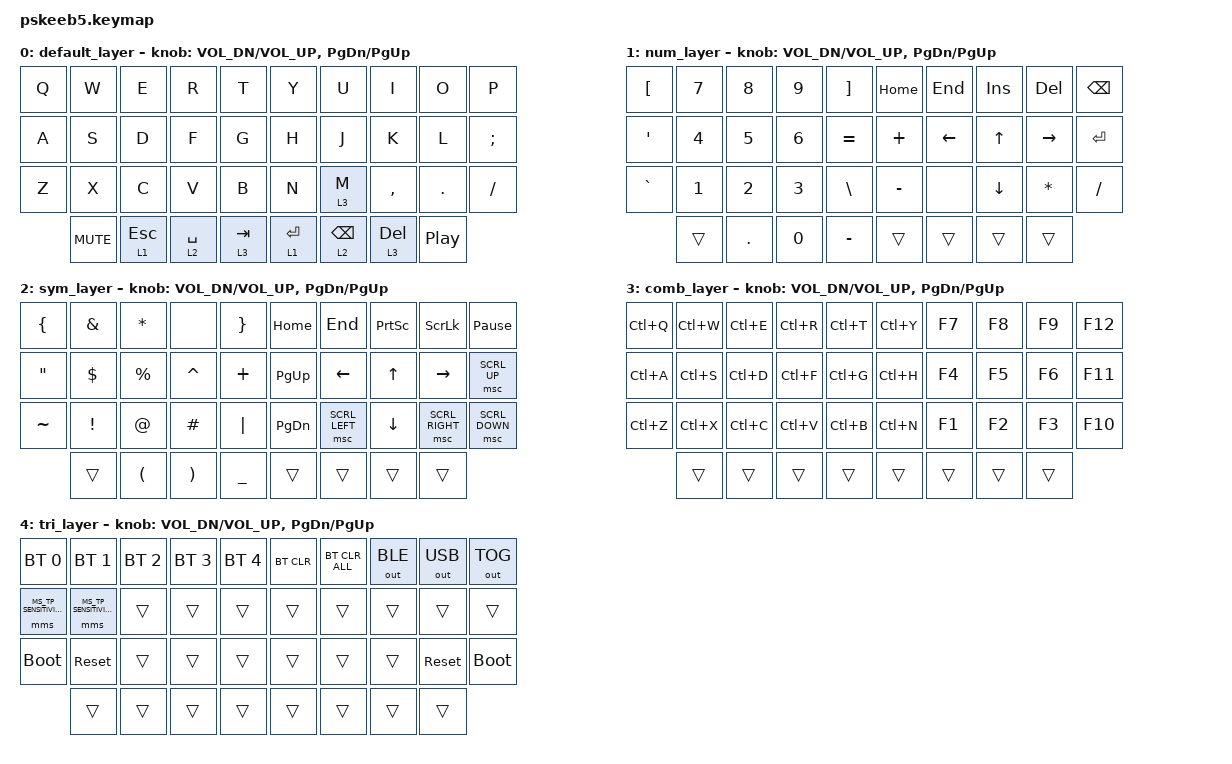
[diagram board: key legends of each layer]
// Copyright (c) 2022 The ZMK Contributors
// SPDX-License-Identifier: MIT

#include <behaviors.dtsi>
#include <dt-bindings/zmk/keys.h>
#include <dt-bindings/zmk/mouse.h>
#include <dt-bindings/zmk/bt.h>
#include <dt-bindings/zmk/outputs.h>

// Home row mods macro
#define HRML(k1,k2,k3,k4) &ht LALT k1  &ht LSHFT k2  &ht LGUI k3  &ht LCTRL k4
#define HRMR(k1,k2,k3,k4) &ht RCTRL k1  &ht RGUI k2  &ht RSHFT k3  &ht RALT k4
#define LCS(keycode) APPLY_MODS(MOD_LCTL | MOD_LSFT, keycode)
#define LCG(keycode) APPLY_MODS(MOD_LCTL | MOD_LGUI, keycode)


#include <behaviors/mouse_setting.dtsi>
#include <dt-bindings/zmk/mouse_settings.h>
#define U_MSS_TP_S_I &mms MS_TP_SENSITIVITY_INCR
#define U_MSS_TP_S_D &mms MS_TP_SENSITIVITY_DECR

&lt {
    flavor = "tap-preferred";
    quick-tap-ms = <180>;
};

&mt {
    quick-tap-ms = <150>;
    flavor = "tap-preferred";
};

/ {
    combos {
        compatible = "zmk,combos";
       combo_esc {
            bindings = <&kp ESC>;
            key-positions = <0 1>;
            timeout-ms = <50>;
            require-prior-idle-ms = <100>;
            layers = <0 1 2 3>;
            slow-release;
        };

        combo_lshft {
            bindings = <&kp LSHIFT>;
            key-positions = <12 13>;
            timeout-ms = <50>;
            require-prior-idle-ms = <100>;
            layers = <0 1 2 3>;
            slow-release;
        };

        combo_lctrl {
            bindings = <&kp LCTRL>;
            key-positions = <11 12>;
            timeout-ms = <50>;
            require-prior-idle-ms = <100>;
            layers = <0 1 2 3>;
            slow-release;
        };

        combo_lalt {
            bindings = <&kp LALT>;
            key-positions = <10 11>;
            timeout-ms = <50>;
            require-prior-idle-ms = <100>;
            layers = <0 1 2 3>;
            slow-release;
        };

        combo_lwin {
            bindings = <&kp LWIN>;
            key-positions = <13 14>;
            timeout-ms = <50>;
            require-prior-idle-ms = <100>;
            layers = <0 1 2 3>;
            slow-release;
        };

        combo_rshft {
            bindings = <&kp LSHIFT>;
            key-positions = <16 17>;
            timeout-ms = <50>;
            require-prior-idle-ms = <100>;
            layers = <0 1 2 3>;
            slow-release;
        };

        combo_rctrl {
            bindings = <&kp LCTRL>;
            key-positions = <17 18>;
            timeout-ms = <50>;
            require-prior-idle-ms = <100>;
            layers = <0 1 2 3>;
            slow-release;
        };

        combo_ralt {
            bindings = <&kp LALT>;
            key-positions = <18 19>;
            timeout-ms = <50>;
            require-prior-idle-ms = <100>;
            layers = <0 1 2 3>;
            slow-release;
        };

        combo_rwin {
            bindings = <&kp LWIN>;
            key-positions = <16 19>;
            timeout-ms = <50>;
            require-prior-idle-ms = <100>;
            layers = <0 1 2 3>;
            slow-release;
        };

        combo_lshft_lctrl {
            bindings = <&kp LC(LSHIFT)>;
            key-positions = <11 12 13>;
            timeout-ms = <50>;
            require-prior-idle-ms = <100>;
            layers = <0 1 2 3>;
            slow-release;
        };

        combo_lshft_lalt {
            bindings = <&kp LA(LSHIFT)>;
            key-positions = <10 12 13>;
            timeout-ms = <50>;
            require-prior-idle-ms = <100>;
            layers = <0 1 2 3>;
            slow-release;
        };

        combo_lctrl_lalt {
            bindings = <&kp LA(LCTRL)>;
            key-positions = <10 11 12>;
            timeout-ms = <50>;
            require-prior-idle-ms = <100>;
            layers = <0 1 2 3>;
            slow-release;
        };

        combo_lctrl_lwin {
            bindings = <&kp LG(LCTRL)>;
            key-positions = <10 11 12 13>;
            timeout-ms = <50>;
            require-prior-idle-ms = <100>;
            layers = <0 1 2 3>;
            slow-release;
        };

        combo_rshft_rctrl {
            bindings = <&kp LC(LSHIFT)>;
            key-positions = <16 17 18>;
            timeout-ms = <50>;
            require-prior-idle-ms = <100>;
            layers = <0 1 2 3>;
            slow-release;
        };

        combo_rshft_ralt {
            bindings = <&kp LA(LSHIFT)>;
            key-positions = <16 17 19>;
            timeout-ms = <50>;
            require-prior-idle-ms = <100>;
            layers = <0 1 2 3>;
            slow-release;
        };

        combo_rctrl_ralt {
            bindings = <&kp LA(LCTRL)>;
            key-positions = <17 18 19>;
            timeout-ms = <50>;
            require-prior-idle-ms = <100>;
            layers = <0 1 2 3>;
            slow-release;
        };

        combo_rctrl_rwin {
            bindings = <&kp LG(LCTRL)>;
            key-positions = <16 17 18 19>;
            timeout-ms = <50>;
            require-prior-idle-ms = <100>;
            layers = <0 1 2 3>;
            slow-release;
        };

        combo_lang {
            bindings = <&kp RALT>;
            key-positions = <16 18>;
            timeout-ms = <50>;
            require-prior-idle-ms = <100>;
            layers = <0 1 2 3>;
            slow-release;
        };

        combo_hanja {
            bindings = <&kp RCTRL>;
            key-positions = <17 19>;
            timeout-ms = <50>;
            require-prior-idle-ms = <100>;
            layers = <0 1 2 3>;
            slow-release;
        };

        combo_undo {
            bindings = <&kp LC(Z)>;
            key-positions = <20 21>;
            timeout-ms = <50>;
            require-prior-idle-ms = <100>;
            layers = <0 1 2 3>;
            slow-release;
        };

        combo_copy {
            bindings = <&kp LC(C)>;
            key-positions = <21 22>;
            timeout-ms = <50>;
            require-prior-idle-ms = <100>;
            layers = <0 1 2 3>;
            slow-release;
        };

        combo_cut {
            bindings = <&kp LC(X)>;
            key-positions = <21 23>;
            timeout-ms = <50>;
            require-prior-idle-ms = <100>;
            layers = <0 1 2 3>;
            slow-release;
        };

        combo_paste {
            bindings = <&kp LC(V)>;
            key-positions = <22 23>;
            timeout-ms = <50>;
            require-prior-idle-ms = <100>;
            layers = <0 1 2 3>;
            slow-release;
        };

        combo_redo {
            bindings = <&kp LC(Y)>;
            key-positions = <23 24>;
            timeout-ms = <50>;
            require-prior-idle-ms = <100>;
            layers = <0 1 2 3>;
            slow-release;
        };

        combo_plus {
            bindings = <&kp PLUS>;
            key-positions = <4 14>;
            timeout-ms = <50>;
            require-prior-idle-ms = <100>;
            layers = <1>;
            slow-release;
        };

        combo_minus {
            bindings = <&kp MINUS>;
            key-positions = <3 13>;
            timeout-ms = <50>;
            require-prior-idle-ms = <100>;
            layers = <1>;
            slow-release;
        };

        combo_multiply {
            bindings = <&kp ASTRK>;
            key-positions = <2 12>;
            timeout-ms = <50>;
            require-prior-idle-ms = <100>;
            layers = <1>;
            slow-release;
        };

        combo_divide {
            bindings = <&kp SLASH>;
            key-positions = <1 11>;
            timeout-ms = <50>;
            require-prior-idle-ms = <100>;
            layers = <1>;
            slow-release;
        };

        combo_comma {
            bindings = <&kp COMMA>;
            key-positions = <16 28>;
            timeout-ms = <50>;
            require-prior-idle-ms = <100>;
            layers = <1>;
            slow-release;
        };

        combo_enter {
            bindings = <&kp ENTER>;
            key-positions = <14 24>;
            timeout-ms = <50>;
            require-prior-idle-ms = <100>;
            layers = <1>;
            slow-release;
        };

        combo_prev {
            bindings = <&mkp MB4>;
            key-positions = <16 26>;
            timeout-ms = <50>;
            require-prior-idle-ms = <100>;
            layers = <0 1 2 3>;
            slow-release;
        };

        combo_next {
            bindings = <&mkp MB5>;
            key-positions = <17 27>;
            timeout-ms = <50>;
            require-prior-idle-ms = <100>;
            layers = <0 1 2 3>;
            slow-release;
        };

        combo_lclk {
            bindings = <&mkp LCLK>;
            key-positions = <26 27>;
            timeout-ms = <50>;
            require-prior-idle-ms = <100>;
            layers = <0 1 2 3>;
            slow-release;
        };

        combo_rclk {
            bindings = <&mkp RCLK>;
            key-positions = <27 28>;
            timeout-ms = <50>;
            require-prior-idle-ms = <100>;
            layers = <0 1 2 3>;
            slow-release;
        };

        combo_mclk {
            bindings = <&mkp MCLK>;
            key-positions = <26 27 28>;
            timeout-ms = <50>;
            require-prior-idle-ms = <100>;
            layers = <0 1 2 3>;
            slow-release;
        };

        combo_tab {
            bindings = <&kp TAB>;
            key-positions = <1 2>;
            timeout-ms = <50>;
            require-prior-idle-ms = <100>;
            layers = <0 1 2 3>;
            slow-release;
        };

        combo_del {
            bindings = <&kp DEL>;
            key-positions = <8 9>;
            timeout-ms = <50>;
            require-prior-idle-ms = <100>;
            layers = <0 1 2 3>;
            slow-release;
        };
    };

    conditional_layers {
        compatible = "zmk,conditional-layers";
        tri_layer {
            if-layers = <1 3>;
            then-layer = <4>;
        };
    };

    keymap {
        compatible = "zmk,keymap";
        default_layer {
            bindings = <
        //╭────────────┬────────────┬────────────┬────────────┬────────────╮   ╭────────────┬────────────┬────────────┬────────────┬────────────╮
          &kp Q        &kp W        &kp E        &kp R        &kp T            &kp Y        &kp U        &kp I        &kp O        &kp P
        //├────────────┼────────────┼────────────┼────────────┼────────────┤   ├────────────┼────────────┼────────────┼────────────┼────────────┤
          &kp A        &kp S        &kp D        &kp F        &kp G            &kp H        &kp J        &kp K        &kp L        &kp SEMI
        //├────────────┼────────────┼────────────┼────────────┼────────────┤   ├────────────┼────────────┼────────────┼────────────┼────────────┤
          &kp Z        &kp X        &kp C        &kp V        &kp B            &kp N        &lt 3 M      &kp COMMA    &kp DOT      &kp SLASH
        //╰────────────┴────────────┴────────────┼────────────┼────────────┤   ├────────────┼────────────┼────────────┴────────────┴────────────╯
                       &kp C_MUTE   &lt 1 ESC    &lt 2 SPACE  &lt 3 TAB        &lt 1 ENTER  &lt 2 BSPC   &lt 3 DEL    &kp C_PLAY_PAUSE
        //                          ╰────────────┴────────────┴────────────╯   ╰────────────┴────────────┴────────────╯
            >;
            sensor-bindings = <&inc_dec_kp C_VOL_DN C_VOL_UP &inc_dec_kp PG_DN PG_UP>;
        };

        num_layer {
            bindings = <
        //╭────────────┬────────────┬────────────┬────────────┬────────────╮   ╭────────────┬────────────┬────────────┬────────────┬────────────╮
          &kp LBKT     &kp N7       &kp N8       &kp N9       &kp RBKT         &kp HOME     &kp END      &kp INS      &kp DEL      &kp BSPC
        //├────────────┼────────────┼────────────┼────────────┼────────────┤   ├────────────┼────────────┼────────────┼────────────┼────────────┤
          &kp SQT      &kp N4       &kp N5       &kp N6       &kp EQUAL        &kp PLUS     &kp LEFT     &kp UP       &kp RIGHT    &kp ENTER
        //├────────────┼────────────┼────────────┼────────────┼────────────┤   ├────────────┼────────────┼────────────┼────────────┼────────────┤
          &kp GRAVE    &kp N1       &kp N2       &kp N3       &kp BSLH         &kp MINUS    &none        &kp DOWN     &kp ASTRK    &kp SLASH
        //╰────────────┴────────────┴────────────┼────────────┼────────────┤   ├────────────┼────────────┼────────────┴────────────┴────────────╯
                       &trans       &kp DOT      &kp N0       &kp MINUS        &trans       &trans       &trans       &trans
        //                          ╰────────────┴────────────┴────────────╯   ╰────────────┴────────────┴────────────╯
            >;
            sensor-bindings = <&inc_dec_kp C_VOL_DN C_VOL_UP &inc_dec_kp PG_DN PG_UP>;
        };

        sym_layer {
            bindings = <
        //╭────────────┬────────────┬────────────┬────────────┬────────────╮   ╭───────────────┬───────────────┬───────────────┬───────────────┬───────────────╮
          &kp LBRC     &kp AMPS     &kp ASTRK    &none        &kp RBRC         &kp HOME        &kp END         &kp PRINTSCREEN &kp SCROLLLOCK  &kp PAUSE_BREAK
        //├────────────┼────────────┼────────────┼────────────┼────────────┤   ├───────────────┼───────────────┼───────────────┼───────────────┼───────────────┤
          &kp DQT      &kp DLLR     &kp PRCNT    &kp CARET    &kp PLUS         &kp PG_UP       &kp LEFT        &kp UP          &kp RIGHT       &msc SCRL_UP
        //├────────────┼────────────┼────────────┼────────────┼────────────┤   ├───────────────┼───────────────┼───────────────┼───────────────┼───────────────┤
          &kp TILDE    &kp EXCL     &kp AT       &kp HASH     &kp PIPE         &kp PG_DN       &msc SCRL_LEFT  &kp DOWN        &msc SCRL_RIGHT &msc SCRL_DOWN
        //╰────────────┴────────────┴────────────┼────────────┼────────────┤   ├───────────────┼───────────────┼───────────────┴───────────────┴───────────────╯
                       &trans       &kp LPAR     &kp RPAR     &kp UNDER        &trans          &trans          &trans          &trans
        //                          ╰────────────┴────────────┴────────────╯   ╰───────────────┴───────────────┴───────────────╯
            >;
            sensor-bindings = <&inc_dec_kp C_VOL_DN C_VOL_UP &inc_dec_kp PG_DN PG_UP>;
        };

        comb_layer {
            bindings = <
        //╭────────────┬────────────┬────────────┬────────────┬────────────╮   ╭────────────┬────────────┬────────────┬────────────┬────────────╮
          &kp LC(Q)    &kp LC(W)    &kp LC(E)    &kp LC(R)    &kp LC(T)        &kp LC(Y)    &kp F7       &kp F8       &kp F9       &kp F12
        //├────────────┼────────────┼────────────┼────────────┼────────────┤   ├────────────┼────────────┼────────────┼────────────┼────────────┤
          &kp LC(A)    &kp LC(S)    &kp LC(D)    &kp LC(F)    &kp LC(G)        &kp LC(H)    &kp F4       &kp F5       &kp F6       &kp F11
        //├────────────┼────────────┼────────────┼────────────┼────────────┤   ├────────────┼────────────┼────────────┼────────────┼────────────┤
          &kp LC(Z)    &kp LC(X)    &kp LC(C)    &kp LC(V)    &kp LC(B)        &kp LC(N)    &kp F1       &kp F2       &kp F3       &kp F10
        //╰────────────┴────────────┴────────────┼────────────┼────────────┤   ├────────────┼────────────┼────────────┴────────────┴────────────╯
                       &trans       &trans       &trans       &trans           &trans       &trans       &trans       &trans
        //                          ╰────────────┴────────────┴────────────╯   ╰────────────┴────────────┴────────────╯
            >;
            sensor-bindings = <&inc_dec_kp C_VOL_DN C_VOL_UP &inc_dec_kp PG_DN PG_UP>;
        };

        tri_layer {
            bindings = <
        //╭────────────┬────────────┬────────────┬────────────┬────────────╮   ╭─────────────┬─────────────┬─────────────┬─────────────┬─────────────╮
          &bt BT_SEL 0 &bt BT_SEL 1 &bt BT_SEL 2 &bt BT_SEL 3 &bt BT_SEL 4     &bt BT_CLR    &bt BT_CLR_ALL &out OUT_BLE  &out OUT_USB  &out OUT_TOG
        //├────────────┼────────────┼────────────┼────────────┼────────────┤   ├─────────────┼─────────────┼─────────────┼─────────────┼─────────────┤
          U_MSS_TP_S_D U_MSS_TP_S_I &trans       &trans       &trans           &trans        &trans        &trans        &trans        &trans
        //├────────────┼────────────┼────────────┼────────────┼────────────┤   ├─────────────┼─────────────┼─────────────┼─────────────┼─────────────┤
          &bootloader  &sys_reset   &trans       &trans       &trans           &trans        &trans        &trans        &sys_reset    &bootloader
        //╰────────────┴────────────┴────────────┼────────────┼────────────┤   ├─────────────┼─────────────┼─────────────┴─────────────┴─────────────╯
                       &trans       &trans       &trans       &trans           &trans        &trans        &trans        &trans
        //                          ╰────────────┴────────────┴────────────╯   ╰─────────────┴─────────────┴─────────────╯
            >;
            sensor-bindings = <&inc_dec_kp C_VOL_DN C_VOL_UP &inc_dec_kp PG_DN PG_UP>;
        };
    };
};
